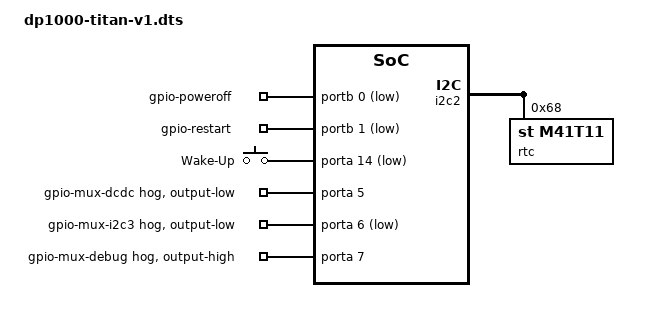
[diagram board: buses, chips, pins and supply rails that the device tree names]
// SPDX-License-Identifier: GPL-2.0
/*
 * Copyright(C) 2025 UltraRISC Technology (Shanghai) Co., Ltd.
 */

#include "dp1000-titan-pinctrl.dtsi"
#include <dt-bindings/iio/temperature/thermocouple.h>
#include <dt-bindings/gpio/gpio.h>
#include <dt-bindings/input/input.h>
#include <dt-bindings/input/gpio-keys.h>

/ {
	chosen {
		bootargs = "earlycon=sbi console=ttyS0,115200";
		stdout-path = &uart0;
	};

	gpio-poweroff {
		compatible = "gpio-poweroff";
		gpios = <&portb 0 GPIO_ACTIVE_LOW>;
		active-delay-ms = <100>;
		line-name = "power-off";
		status = "okay";
	};

	gpio-restart {
		compatible = "gpio-restart";
		gpios = <&portb 1 GPIO_ACTIVE_LOW>;
		active-delay-ms = <100>;
		line-name = "reset-system";
		status = "okay";
	};

	gpio-keys {
		compatible = "gpio-keys";

		key-wakeup {
			label = "Wake-Up";
			gpios = <&porta 14 GPIO_ACTIVE_LOW>;
			linux,code = <KEY_WAKEUP>;
			linux,input-type = <EV_KEY>;
			debounce-interval = <10>;
			wakeup-source;
			wakeup-event-action = <EV_ACT_DEASSERTED>;
		};
	};
};

&i2c0 {
	pinctrl-names = "default";
	pinctrl-0 = <&i2c0_pins>;
};

&i2c1 {
	pinctrl-names = "default";
	pinctrl-0 = <&i2c1_pins>;
};

&i2c2 {
	pinctrl-names = "default";
	pinctrl-0 = <&i2c2_pins>;

	rtc@68 {
		compatible = "st,m41t11";
		reg = <0x68>;
	};
};

&i2c3 {
	pinctrl-names = "default";
	pinctrl-0 = <&i2c3_pins>;
};

&spi0 {
	pinctrl-names = "default";
	pinctrl-0 = <&spi0_pins>;
};

&spi1 {
	num-cs = <1>;

	pinctrl-names = "default";
	pinctrl-0 = <&spi1_pins>;
};

&uart0 {
	pinctrl-names = "default";
	pinctrl-0 = <&uart0_pins>;
};

&uart1 {
	pinctrl-names = "default";
	pinctrl-0 = <&uart1_pins>;
};

&uart2 {
	pinctrl-names = "default";
	pinctrl-0 = <&uart2_pins>;
};

&uart3 {
	pinctrl-names = "default";
	pinctrl-0 = <&uart3_pins>;
};

&porta {
	pinctrl-names = "default";
	pinctrl-0 = <&gpios_pin>;

	i2c1-mux-hog {
		gpio-hog;
		gpios = <5 GPIO_ACTIVE_HIGH>;
		/* LOW: DCDC(U6) connect MCU(EC)
		 * HIGH: DCDC(U6) connect CPU
		 */
		output-low;
		line-name = "gpio-mux-dcdc";
	};

	i2c3-mux-hog {
		gpio-hog;
		gpios = <6 GPIO_ACTIVE_LOW>;
		/* LOW: CPU i2c3 connect nvme
		 * HIGH: CPU i2c3 connect pciex16
		 */
		output-low;
		line-name = "gpio-mux-i2c3";
	};

	uart0-mux-hog {
		gpio-hog;
		gpios = <7 GPIO_ACTIVE_HIGH>;
		/* LOW: uart_debug connect BMC
		 * HIGH: uart_debug connect CPU
		 */
		output-high;
		line-name = "gpio-mux-debug";
	};
};
